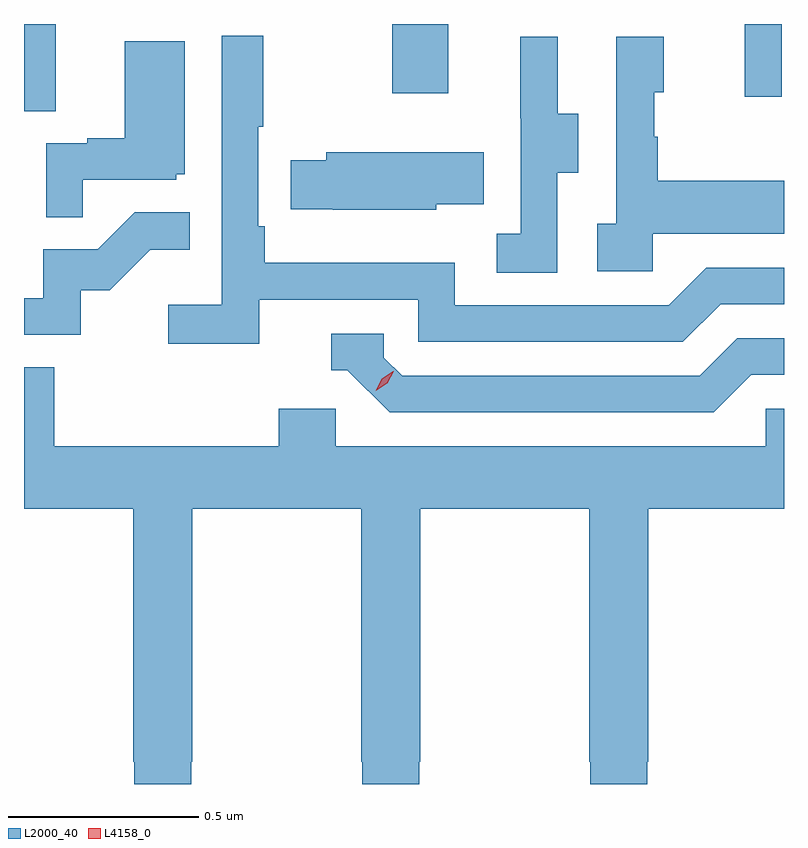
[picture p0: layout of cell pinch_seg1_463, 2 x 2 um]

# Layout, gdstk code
import gdstk
lib = gdstk.Library(unit=1e-6, precision=1e-09)
def R(c, l, rs):  # rectangles x0, y0, x1, y1
    for r in rs: c.add(gdstk.rectangle(r[:2], r[2:], *l))
def P(c, l, *ps):  # polygons
    for p in ps: c.add(gdstk.Polygon(p, *l))
L2000_40 = (2000, 40)
L4158_0 = (4158, 0)

pinch_seg1_463 = lib.new_cell('pinch_seg1_463')
R(pinch_seg1_463, L2000_40, [(994.471,512.818,994.555,513.047), (996.368,512.856,996.465,513.047), (995.44,512.865,995.587,513.047)])
P(pinch_seg1_463, L2000_40, [(995.09,512.322),(995.508,512.322),(995.508,512.211),(996.205,512.211),(996.304,512.31),(996.471,512.31),(996.471,512.406),(996.267,512.406),(996.168,512.307),(995.604,512.307),(995.604,512.419),(995.105,512.419),(995.105,512.515),(995.088,512.515),(995.088,512.776),(995.101,512.776),(995.101,513.016),(994.992,513.016),(994.992,512.308),(994.851,512.308),(994.851,512.206),(995.09,512.206)],
  [(995.874,512.656),(995.929,512.656),(995.929,512.811),(995.875,512.811),(995.875,513.013),(995.777,513.013),(995.777,512.799),(995.778,512.799),(995.778,512.495),(995.715,512.495),(995.715,512.392),(995.874,512.392)],
  [(996.126,512.495),(996.471,512.495),(996.471,512.635),(996.139,512.635),(996.139,512.75),(996.129,512.75),(996.129,512.868),(996.154,512.868),(996.154,513.013),(996.03,513.013),(996.03,512.522),(995.979,512.522),(995.979,512.397),(996.126,512.397)],
  [(994.625,512.637),(994.872,512.637),(994.872,512.652),(994.894,512.652),(994.894,513.001),(994.736,513.001),(994.736,512.746),(994.637,512.746),(994.637,512.733),(994.53,512.733),(994.53,512.539),(994.625,512.539)],
  [(995.556,512.573),(995.681,512.573),(995.681,512.71),(995.267,512.71),(995.267,512.688),(995.173,512.688),(995.173,512.559),(995.284,512.559),(995.284,512.558),(995.556,512.558)],
  [(994.62,512.346),(994.696,512.346),(994.803,512.453),(994.907,512.453),(994.907,512.552),(994.763,512.552),(994.665,512.454),(994.521,512.454),(994.521,512.325),(994.471,512.325),(994.471,512.229),(994.62,512.229)],
  [(996.385,512.124),(996.471,512.124),(996.471,512.22),(996.348,512.22),(996.249,512.121),(995.466,512.121),(995.418,512.169),(995.418,512.232),(995.279,512.232),(995.279,512.136),(995.322,512.136),(995.433,512.025),(996.286,512.025)],
  [(994.911,511.105),(994.914,511.105),(994.914,511.772),(995.359,511.772),(995.359,511.105),(995.361,511.105),(995.361,511.047),(995.511,511.047),(995.511,511.105),(995.514,511.105),(995.514,511.772),(995.959,511.772),(995.959,511.105),(995.961,511.105),(995.961,511.047),(996.111,511.047),(996.111,511.105),(996.114,511.105),(996.114,511.772),(996.471,511.772),(996.471,512.034),(996.423,512.034),(996.423,511.936),(995.292,511.936),(995.292,512.034),(995.141,512.034),(995.141,511.936),(994.55,511.936),(994.55,512.144),(994.471,512.144),(994.471,511.772),(994.759,511.772),(994.759,511.105),(994.761,511.105),(994.761,511.047),(994.911,511.047)])
P(pinch_seg1_463, L4158_0, [(995.396,512.082),(995.396,512.082),(995.413,512.114),(995.443,512.133),(995.444,512.133),(995.444,512.133),(995.427,512.101),(995.397,512.082)])

lib.write_gds('pinch_seg1_463.gds')
